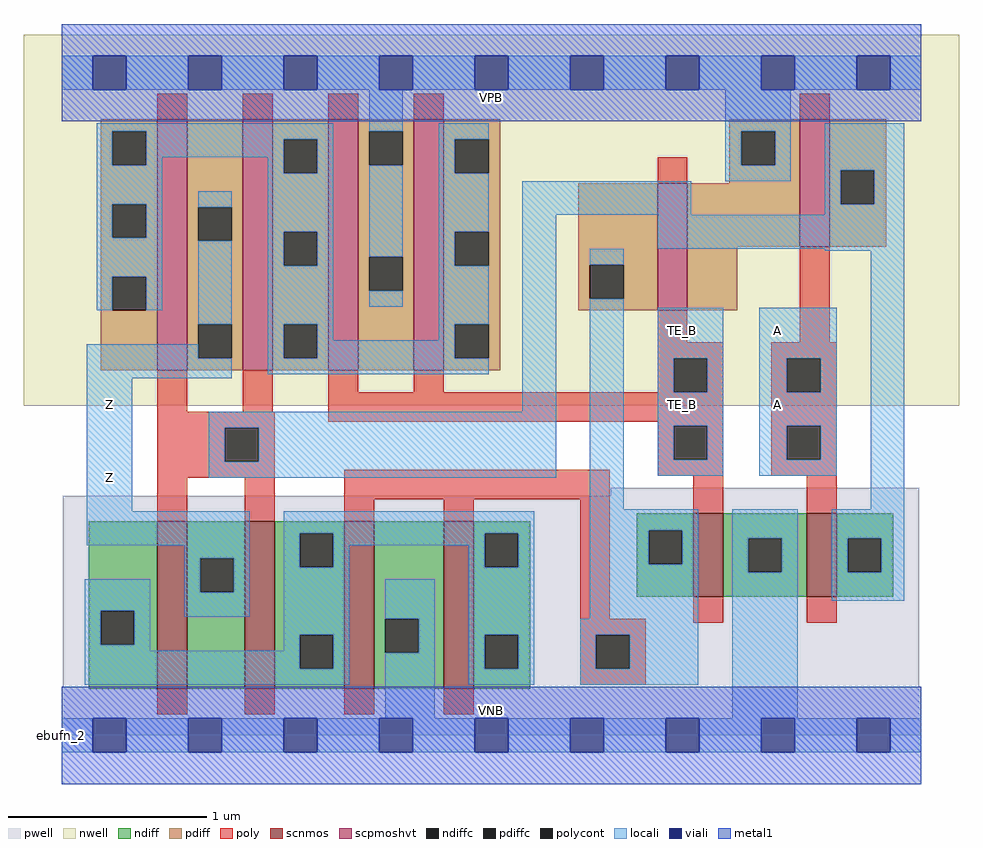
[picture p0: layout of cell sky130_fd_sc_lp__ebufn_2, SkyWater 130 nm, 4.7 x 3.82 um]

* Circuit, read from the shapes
.subckt sky130_fd_sc_lp__ebufn_2 A TE_B VGND VNB VPB VPWR Z
XM1 Z n1 n2 VNB sky130_fd_pr__nfet_01v8 w=0.84 l=0.15 m=2
XM2 VGND n3 n2 VNB sky130_fd_pr__nfet_01v8 w=0.84 l=0.15 m=2
XM3 VGND TE_B n3 VNB sky130_fd_pr__nfet_01v8 w=0.42 l=0.15
XM4 n1 A VGND VNB sky130_fd_pr__nfet_01v8 w=0.42 l=0.15
XM5 Z n1 n4 VPB sky130_fd_pr__pfet_01v8_hvt w=1.26 l=0.15 m=2
XM6 VPWR TE_B n4 VPB sky130_fd_pr__pfet_01v8_hvt w=1.26 l=0.15 m=2
XM7 VPWR TE_B n3 VPB sky130_fd_pr__pfet_01v8_hvt w=0.64 l=0.15
XM8 n1 A VPWR VPB sky130_fd_pr__pfet_01v8_hvt w=0.64 l=0.15
.ends

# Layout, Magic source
magic
tech sky130A
magscale 1 2
<< nwell >>
rect -38 331 902 704
<< pwell >>
rect 552 241 862 249
rect 1 49 862 241
rect 0 0 864 49
<< scnmos >>
rect 96 47 126 215
rect 184 47 214 215
rect 284 47 314 215
rect 384 47 414 215
rect 635 139 665 223
rect 749 139 779 223
<< scpmoshvt >>
rect 96 367 126 619
rect 182 367 212 619
rect 268 367 298 619
rect 354 367 384 619
rect 599 427 629 555
rect 742 491 772 619
<< ndiff >>
rect 27 125 96 215
rect 27 91 39 125
rect 73 91 96 125
rect 27 47 96 91
rect 126 178 184 215
rect 126 144 139 178
rect 173 144 184 178
rect 126 47 184 144
rect 214 203 284 215
rect 214 169 239 203
rect 273 169 284 203
rect 214 101 284 169
rect 214 67 239 101
rect 273 67 284 101
rect 214 47 284 67
rect 314 117 384 215
rect 314 83 325 117
rect 359 83 384 117
rect 314 47 384 83
rect 414 203 471 215
rect 414 169 425 203
rect 459 169 471 203
rect 414 101 471 169
rect 414 67 425 101
rect 459 67 471 101
rect 414 47 471 67
rect 578 206 635 223
rect 578 172 590 206
rect 624 172 635 206
rect 578 139 635 172
rect 665 198 749 223
rect 665 164 690 198
rect 724 164 749 198
rect 665 139 749 164
rect 779 198 836 223
rect 779 164 790 198
rect 824 164 836 198
rect 779 139 836 164
<< pdiff >>
rect 39 607 96 619
rect 39 573 51 607
rect 85 573 96 607
rect 39 534 96 573
rect 39 500 51 534
rect 85 500 96 534
rect 39 461 96 500
rect 39 427 51 461
rect 85 427 96 461
rect 39 367 96 427
rect 126 531 182 619
rect 126 497 137 531
rect 171 497 182 531
rect 126 413 182 497
rect 126 379 137 413
rect 171 379 182 413
rect 126 367 182 379
rect 212 599 268 619
rect 212 565 223 599
rect 257 565 268 599
rect 212 506 268 565
rect 212 472 223 506
rect 257 472 268 506
rect 212 413 268 472
rect 212 379 223 413
rect 257 379 268 413
rect 212 367 268 379
rect 298 607 354 619
rect 298 573 309 607
rect 343 573 354 607
rect 298 481 354 573
rect 298 447 309 481
rect 343 447 354 481
rect 298 367 354 447
rect 384 599 441 619
rect 384 565 395 599
rect 429 565 441 599
rect 671 607 742 619
rect 384 506 441 565
rect 671 573 683 607
rect 717 573 742 607
rect 671 555 742 573
rect 384 472 395 506
rect 429 472 441 506
rect 384 413 441 472
rect 519 473 599 555
rect 519 439 531 473
rect 565 439 599 473
rect 519 427 599 439
rect 629 491 742 555
rect 772 568 829 619
rect 772 534 783 568
rect 817 534 829 568
rect 772 491 829 534
rect 629 427 679 491
rect 384 379 395 413
rect 429 379 441 413
rect 384 367 441 379
<< ndiffc >>
rect 39 91 73 125
rect 139 144 173 178
rect 239 169 273 203
rect 239 67 273 101
rect 325 83 359 117
rect 425 169 459 203
rect 425 67 459 101
rect 590 172 624 206
rect 690 164 724 198
rect 790 164 824 198
<< pdiffc >>
rect 51 573 85 607
rect 51 500 85 534
rect 51 427 85 461
rect 137 497 171 531
rect 137 379 171 413
rect 223 565 257 599
rect 223 472 257 506
rect 223 379 257 413
rect 309 573 343 607
rect 309 447 343 481
rect 395 565 429 599
rect 683 573 717 607
rect 395 472 429 506
rect 531 439 565 473
rect 783 534 817 568
rect 395 379 429 413
<< poly >>
rect 96 619 126 645
rect 182 619 212 645
rect 268 619 298 645
rect 354 619 384 645
rect 742 619 772 645
rect 599 555 629 581
rect 599 395 629 427
rect 742 395 772 491
rect 599 379 665 395
rect 96 325 126 367
rect 182 325 212 367
rect 268 345 298 367
rect 354 345 384 367
rect 599 345 615 379
rect 649 345 665 379
rect 96 309 214 325
rect 268 315 665 345
rect 96 275 164 309
rect 198 275 214 309
rect 96 259 214 275
rect 599 311 665 315
rect 599 277 615 311
rect 649 277 665 311
rect 96 215 126 259
rect 184 215 214 259
rect 284 237 551 267
rect 599 261 665 277
rect 713 379 779 395
rect 713 345 729 379
rect 763 345 779 379
rect 713 311 779 345
rect 713 277 729 311
rect 763 277 779 311
rect 713 261 779 277
rect 284 215 314 237
rect 384 215 414 237
rect 521 117 551 237
rect 635 223 665 261
rect 749 223 779 261
rect 521 101 587 117
rect 635 113 665 139
rect 749 113 779 139
rect 521 67 537 101
rect 571 67 587 101
rect 521 51 587 67
rect 96 21 126 47
rect 184 21 214 47
rect 284 21 314 47
rect 384 21 414 47
<< polycont >>
rect 615 345 649 379
rect 164 275 198 309
rect 615 277 649 311
rect 729 345 763 379
rect 729 277 763 311
rect 537 67 571 101
<< locali >>
rect 0 649 31 683
rect 65 649 127 683
rect 161 649 223 683
rect 257 649 319 683
rect 353 649 415 683
rect 449 649 511 683
rect 545 649 607 683
rect 641 649 703 683
rect 737 649 799 683
rect 833 649 864 683
rect 35 607 273 615
rect 35 573 51 607
rect 85 599 273 607
rect 85 581 223 599
rect 85 573 101 581
rect 35 534 101 573
rect 207 565 223 581
rect 257 565 273 599
rect 35 500 51 534
rect 85 500 101 534
rect 35 461 101 500
rect 35 427 51 461
rect 85 427 101 461
rect 137 531 171 547
rect 137 413 171 497
rect 25 379 137 393
rect 25 359 171 379
rect 207 506 273 565
rect 207 472 223 506
rect 257 472 273 506
rect 207 413 273 472
rect 309 607 343 649
rect 309 481 343 573
rect 309 431 343 447
rect 379 599 429 615
rect 379 565 395 599
rect 379 506 429 565
rect 667 607 733 649
rect 667 573 683 607
rect 717 573 733 607
rect 667 557 733 573
rect 767 568 847 615
rect 379 472 395 506
rect 207 379 223 413
rect 257 397 273 413
rect 379 413 429 472
rect 379 397 395 413
rect 257 379 395 397
rect 207 363 429 379
rect 463 523 633 557
rect 767 534 783 568
rect 817 534 847 568
rect 767 523 847 534
rect 25 225 71 359
rect 463 325 497 523
rect 599 489 847 523
rect 148 309 497 325
rect 148 275 164 309
rect 198 275 497 309
rect 148 259 497 275
rect 531 473 565 489
rect 767 487 847 489
rect 531 227 565 439
rect 599 379 665 430
rect 599 345 615 379
rect 649 345 665 379
rect 599 311 665 345
rect 599 277 615 311
rect 649 277 665 311
rect 599 261 665 277
rect 701 379 779 430
rect 701 345 729 379
rect 763 345 779 379
rect 701 311 779 345
rect 701 277 729 311
rect 763 277 779 311
rect 701 261 779 277
rect 813 227 847 487
rect 25 191 189 225
rect 123 178 189 191
rect 23 125 89 157
rect 23 91 39 125
rect 73 91 89 125
rect 123 144 139 178
rect 173 144 189 178
rect 123 119 189 144
rect 223 203 475 225
rect 223 169 239 203
rect 273 191 425 203
rect 273 169 289 191
rect 23 85 89 91
rect 223 101 289 169
rect 409 169 425 191
rect 459 169 475 203
rect 223 85 239 101
rect 23 67 239 85
rect 273 67 289 101
rect 23 51 289 67
rect 325 117 375 157
rect 359 83 375 117
rect 325 17 375 83
rect 409 101 475 169
rect 531 206 640 227
rect 531 172 590 206
rect 624 172 640 206
rect 531 117 640 172
rect 409 67 425 101
rect 459 67 475 101
rect 409 51 475 67
rect 521 101 640 117
rect 521 67 537 101
rect 571 67 640 101
rect 521 51 640 67
rect 674 198 740 227
rect 674 164 690 198
rect 724 164 740 198
rect 674 17 740 164
rect 774 198 847 227
rect 774 164 790 198
rect 824 164 847 198
rect 774 135 847 164
rect 0 -17 31 17
rect 65 -17 127 17
rect 161 -17 223 17
rect 257 -17 319 17
rect 353 -17 415 17
rect 449 -17 511 17
rect 545 -17 607 17
rect 641 -17 703 17
rect 737 -17 799 17
rect 833 -17 864 17
<< viali >>
rect 31 649 65 683
rect 127 649 161 683
rect 223 649 257 683
rect 319 649 353 683
rect 415 649 449 683
rect 511 649 545 683
rect 607 649 641 683
rect 703 649 737 683
rect 799 649 833 683
rect 31 -17 65 17
rect 127 -17 161 17
rect 223 -17 257 17
rect 319 -17 353 17
rect 415 -17 449 17
rect 511 -17 545 17
rect 607 -17 641 17
rect 703 -17 737 17
rect 799 -17 833 17
<< metal1 >>
rect 0 683 864 715
rect 0 649 31 683
rect 65 649 127 683
rect 161 649 223 683
rect 257 649 319 683
rect 353 649 415 683
rect 449 649 511 683
rect 545 649 607 683
rect 641 649 703 683
rect 737 649 799 683
rect 833 649 864 683
rect 0 617 864 649
rect 0 17 864 49
rect 0 -17 31 17
rect 65 -17 127 17
rect 161 -17 223 17
rect 257 -17 319 17
rect 353 -17 415 17
rect 449 -17 511 17
rect 545 -17 607 17
rect 641 -17 703 17
rect 737 -17 799 17
rect 833 -17 864 17
rect 0 -49 864 -17
<< labels >>
flabel pwell s 0 0 864 49 0 FreeSans 200 0 0 0 VNB
port 4 nsew ground bidirectional
flabel nwell s 0 617 864 666 0 FreeSans 200 0 0 0 VPB
port 5 nsew power bidirectional
rlabel comment s 0 0 0 0 4 ebufn_2
flabel metal1 s 0 617 864 666 0 FreeSans 340 0 0 0 VPWR
port 6 nsew power bidirectional
flabel metal1 s 0 0 864 49 0 FreeSans 340 0 0 0 VGND
port 3 nsew ground bidirectional
flabel locali s 31 242 65 276 0 FreeSans 340 0 0 0 Z
port 7 nsew signal output
flabel locali s 31 316 65 350 0 FreeSans 340 0 0 0 Z
port 7 nsew signal output
flabel locali s 703 316 737 350 0 FreeSans 340 0 0 0 A
port 1 nsew signal input
flabel locali s 703 390 737 424 0 FreeSans 340 0 0 0 A
port 1 nsew signal input
flabel locali s 607 316 641 350 0 FreeSans 340 0 0 0 TE_B
port 2 nsew signal input
flabel locali s 607 390 641 424 0 FreeSans 340 0 0 0 TE_B
port 2 nsew signal input
<< properties >>
string LEFsite unit
string LEFclass CORE
string FIXED_BBOX 0 0 864 666
string GDS_FILE $PDKPATH/libs.ref/sky130_fd_sc_lp/gds/sky130_fd_sc_lp.gds
string LEFsymmetry X Y R90
string GDS_END 3331970
string GDS_START 3324732
<< end >>
